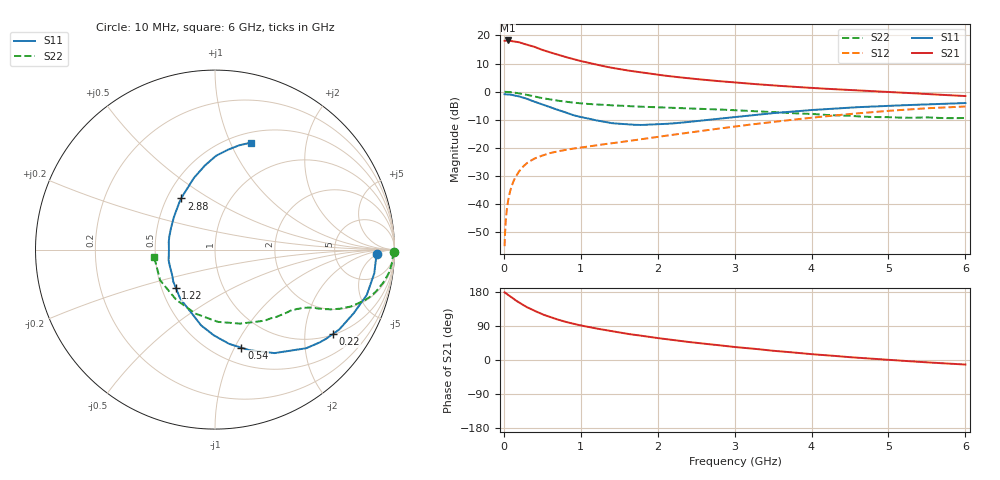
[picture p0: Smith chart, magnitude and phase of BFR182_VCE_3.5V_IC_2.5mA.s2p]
! Infineon Technologies  Discrete & RF Semiconductors
! BFR182
! VCE =  3.5 V,  IC =  2.5 mA
! Common Emitter S-Parameters:  Nov 2015
# GHz  S  MA  R  50
!  f  S11  S21  S12  S22
! GHz  MAG  ANG  MAG  ANG  MAG  ANG  MAG  ANG
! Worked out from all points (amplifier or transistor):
!   210 points, 10 MHz to 6 GHz, reference 50 ohm
!   highest |S21| = 18.2 dB at 50 MHz (marker M1)
!   |S21| within 3 dB of that: start of sweep to 466 MHz
!   unconditionally stable (mu >= 1): 1.367 GHz to 3.032 GHz
!   at 185 MHz: K = 0.20, MSG = 23.2 dB, |S12| = -28.8 dB
!   at 1.52 GHz: K = 1.03, MAG = 11.8 dB, |S12| = -17.9 dB
!   at 6 GHz: K = 0.89, MSG = 1.9 dB, |S12| = -5.3 dB
!   S11 on the Smith chart (normalised r, x): 10 MHz: 18, -5; 220 MHz: 1.03, -2.78; 540 MHz: 0.66, -1.07; 1.22 GHz: 0.59, -0.28; 2.88 GHz: 0.59, +0.38; 6 GHz: 0.61, +1.20
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0.01  0.9028 -1.7  8.025 178.7  0.0018 97.9  0.9959 -0.8
0.025  0.8978 -4.0  8.056 176.2  0.0051 85.1  0.9911 -1.9
0.05  0.8972 -8.5  8.138 172.6  0.0104 84.6  0.9906 -3.8
0.095  0.8831 -15.9  7.947 166.5  0.0198 81.6  0.9805 -6.9
0.15  0.85 -24.7  7.784 157.8  0.0301 75.7  0.9579 -10.8
0.22  0.8078 -35.6  7.384 149.1  0.0418 70.6  0.9226 -15.0
0.3  0.7487 -47.2  6.859 139.4  0.0538 66.0  0.8799 -18.8
0.4  0.6652 -60.1  6.252 129.6  0.065 60.3  0.821 -22.7
0.5  0.5931 -71.0  5.533 120.5  0.0733 56.5  0.7688 -25.4
0.54  0.5663 -74.9  5.312 117.8  0.0764 55.5  0.7525 -26.1
0.66  0.4972 -86.9  4.728 109.5  0.0848 53.2  0.7072 -28.0
0.8  0.4297 -100.3  4.147 100.8  0.0923 51.5  0.6649 -29.6
0.9  0.3841 -108.5  3.802 95.6  0.0974 51.6  0.64 -30.5
1.02  0.3503 -118.7  3.456 90.4  0.1026 51.5  0.6173 -31.6
1.22  0.3062 -135.5  2.997 82.4  0.112 52.1  0.5913 -33.4
1.6  0.2652 -167.0  2.394 69.3  0.1319 54.2  0.5574 -36.9
2.02  0.2649 163.7  1.985 57.4  0.1587 56.3  0.53 -41.8
2.88  0.3411 123.4  1.507 37.1  0.2288 56.2  0.4776 -56.2
3.1  0.3653 116.5  1.424 32.5  0.25 55.1  0.4605 -61.0
4.1  0.4818 95.2  1.147 13.9  0.3558 47.2  0.3937 -91.2
5.1  0.5682 81.3  0.976 -1.0  0.4666 34.7  0.3481 -132.4
6  0.6288 71.4  0.837 -12.0  0.546 20.9  0.3417 -172.7
